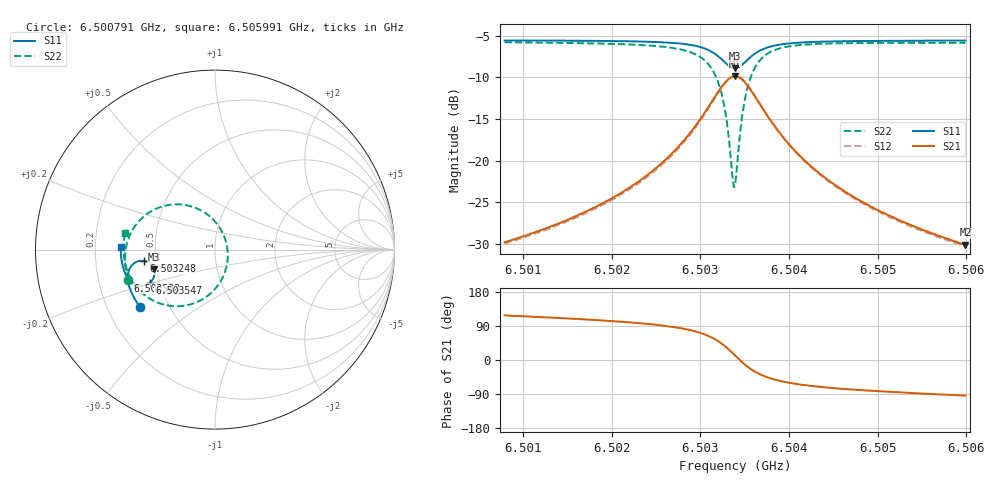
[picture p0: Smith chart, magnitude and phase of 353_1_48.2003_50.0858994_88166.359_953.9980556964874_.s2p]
#  HZ  S  RI  R  50.00
! Rohde & Schwarz Vector Network Analyzer
! Rohde-Schwarz,ZNB20-2Port,1311601062101988,3.16
! Created: UTC 3/20/2024, 11:51:52 AM
! freq[Hz]  re:S11  im:S11  re:S21  im:S21  re:S12  im:S12  re:S22  im:S22
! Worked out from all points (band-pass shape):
!   401 points, 6.500791 GHz to 6.505991 GHz, reference 50 ohm
!   highest |S21| = -9.87 dB at 6.503391 GHz (marker M1); lowest = -30.1 dB at 6.505991 GHz (marker M2)
!   |S21| within 3 dB of the highest: 6.503131 GHz to 6.503651 GHz (519.2 kHz wide, 0.00798 % of centre)
!   lowest |S11| = -8.9 dB at 6.503391 GHz (marker M3), VSWR 2.11, Z = 24.1 - j6.11 ohm
!   |S11| at or under -10 dB: nowhere
!   |S22| runs from -23.2 to -5.8 dB; largest |S21 - S12| = 0.011
!   S11 on the Smith chart (normalised r, x): 6.500791 GHz: 0.34, -0.30; 6.502533 GHz: 0.33, -0.15; 6.503248 GHz: 0.43, -0.06; 6.503547 GHz: 0.44, -0.20; 6.505991 GHz: 0.31, +0.01
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6.5007911e9  -0.4188 -0.3189  -0.0151 0.0287  -0.0134 0.0289  -0.4851 -0.1685
6.501662e9  -0.4575 -0.2559  -0.0146 0.0459  -0.0122 0.0456  -0.5008 -0.0785
6.502143e9  -0.475 -0.2142  -0.0119 0.0649  -0.00893 0.0639  -0.4993 -0.0125
6.502533e9  -0.4849 -0.1724  -0.00342 0.0935  0.000247 0.0914  -0.4817 0.0625
6.502793e9  -0.4847 -0.1356  0.015 0.1275  0.0188 0.1237  -0.443 0.1346
6.502975e9  -0.4737 -0.1024  0.0488 0.1631  0.0522 0.1579  -0.3763 0.2004
6.503144e9  -0.4399 -0.0693  0.1249 0.1963  0.1263 0.19  -0.2367 0.2512
6.503248e9  -0.3979 -0.0622  0.2087 0.188  0.2092 0.1826  -0.0907 0.2247
6.5033e9  -0.3728 -0.0706  0.2564 0.1607  0.2574 0.1562  -0.0115 0.1688
6.503365e9  -0.3466 -0.0962  0.3034 0.0986  0.3061 0.0936  0.0594 0.0494
6.503391e9  -0.3403 -0.1104  0.3137 0.0672  0.3168 0.0613  0.0703 -0.00904
6.503404e9  -0.3384 -0.1179  0.3165 0.0508  0.3196 0.0444  0.071 -0.0392
6.503456e9  -0.3393 -0.1482  0.3111 -0.0136  0.3139 -0.0222  0.0439 -0.1532
6.503482e9  -0.3442 -0.1618  0.3 -0.0421  0.3019 -0.0518  0.015 -0.201
6.503547e9  -0.3649 -0.1871  0.2585 -0.0952  0.2572 -0.106  -0.0788 -0.2821
6.503651e9  -0.4036 -0.2018  0.1856 -0.1306  0.1804 -0.1398  -0.2249 -0.3157
6.50382e9  -0.4489 -0.192  0.1061 -0.128  0.0991 -0.1328  -0.3686 -0.2702
6.504002e9  -0.4758 -0.1705  0.0625 -0.1086  0.0565 -0.1109  -0.4391 -0.2067
6.5042619e9  -0.4963 -0.1405  0.0333 -0.0851  0.0285 -0.0856  -0.4817 -0.1358
6.5046649e9  -0.5122 -0.0992  0.0143 -0.0621  0.011 -0.0617  -0.5041 -0.0594
6.5051329e9  -0.5211 -0.0565  0.00496 -0.0466  0.00259 -0.0459  -0.5095 0.00423
6.5059909e9  -0.5257 0.0155  -0.00212 -0.0313  -0.00337 -0.0305  -0.5013 0.0929
